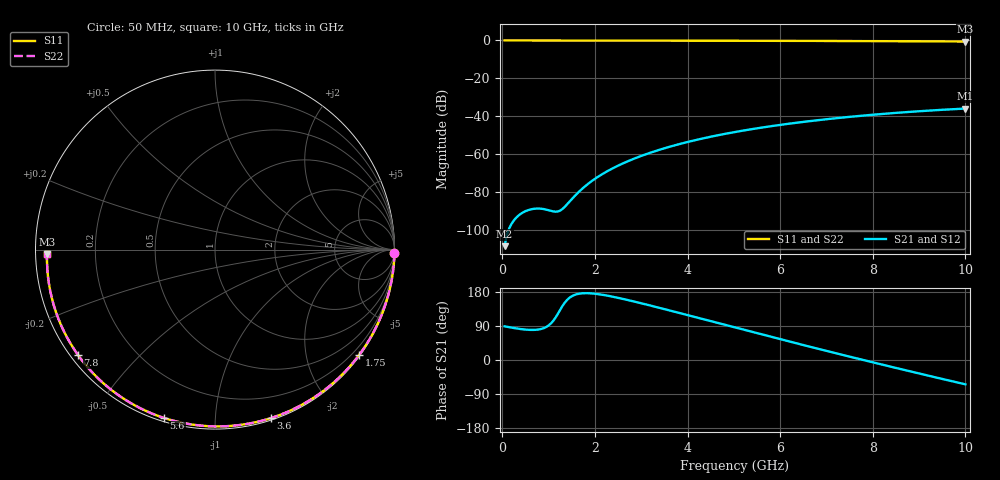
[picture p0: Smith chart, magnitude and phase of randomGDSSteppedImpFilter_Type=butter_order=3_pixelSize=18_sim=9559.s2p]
! freq	dB(S11)	phase(S11)	dB(S12)	phase(S12)
!  dB(S21)	phase(S21)	dB(S22)	phase(S22)
!S-par simulation data
#  GHz  S  DB  R 50
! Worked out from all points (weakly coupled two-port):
!   200 points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, 50 MHz to 10 GHz, reference 50 ohm
!   highest |S21| = -35.99 dB at 10 GHz (marker M1); lowest = -108.7 dB at 50 MHz (marker M2)
!   lowest |S11| = -0.6 dB at 10 GHz (marker M3), VSWR 30.46, Z = 1.64 - j0.697 ohm
!   |S11| at or under -10 dB: nowhere
!   |S22| runs from -0.6 to 0.0 dB; largest |S21 - S12| = 0
!   S11 on the Smith chart (normalised r, x): 50 MHz: open; 1.75 GHz: 0.03, -3.07; 3.6 GHz: 0.02, -1.38; 5.6 GHz: 0.02, -0.74; 7.8 GHz: 0.02, -0.34; 10 GHz: 0.03, -0.01
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0.05  -0.00 -1.1  -108.72 88.8  -108.72 88.8  -0.00 -1.1
0.4  -0.01 -8.4  -91.61 81.6  -91.61 81.6  -0.01 -8.4
0.8  -0.02 -16.7  -88.86 80.9  -88.86 80.9  -0.02 -16.7
1.2  -0.03 -24.9  -90.38 122.0  -90.38 122.0  -0.03 -24.9
1.65  -0.04 -34.1  -80.08 174.8  -80.08 174.8  -0.04 -34.1
1.75  -0.05 -36.1  -77.85 176.2  -77.85 176.2  -0.05 -36.1
1.9  -0.05 -39.1  -74.89 176.0  -74.89 176.0  -0.05 -39.1
2.05  -0.05 -42.1  -72.32 174.1  -72.32 174.1  -0.05 -42.1
2.25  -0.06 -46.0  -69.35 170.2  -69.35 170.2  -0.06 -46.0
2.45  -0.06 -49.9  -66.77 165.4  -66.77 165.4  -0.06 -49.9
2.9  -0.08 -58.6  -61.96 152.7  -61.96 152.7  -0.08 -58.6
3.4  -0.09 -68.1  -57.73 137.4  -57.73 137.4  -0.09 -68.1
3.6  -0.10 -71.8  -56.27 131.2  -56.27 131.2  -0.10 -71.8
4.3  -0.12 -84.4  -51.94 108.9  -51.94 108.9  -0.12 -84.4
5.05  -0.15 -97.5  -48.28 84.9  -48.28 84.9  -0.15 -97.5
5.6  -0.18 -106.8  -46.06 67.5  -46.06 67.5  -0.18 -106.8
6.15  -0.21 -116.0  -44.13 50.3  -44.13 50.3  -0.21 -116.0
6.7  -0.24 -124.9  -42.46 33.2  -42.46 33.2  -0.24 -124.9
7.8  -0.33 -142.5  -39.70 -0.2  -39.70 -0.2  -0.33 -142.5
8.35  -0.38 -151.3  -38.56 -16.5  -38.56 -16.5  -0.38 -151.3
9.2  -0.47 -165.1  -37.09 -41.4  -37.09 -41.4  -0.47 -165.1
10  -0.57 -178.4  -35.99 -64.2  -35.99 -64.2  -0.57 -178.4
